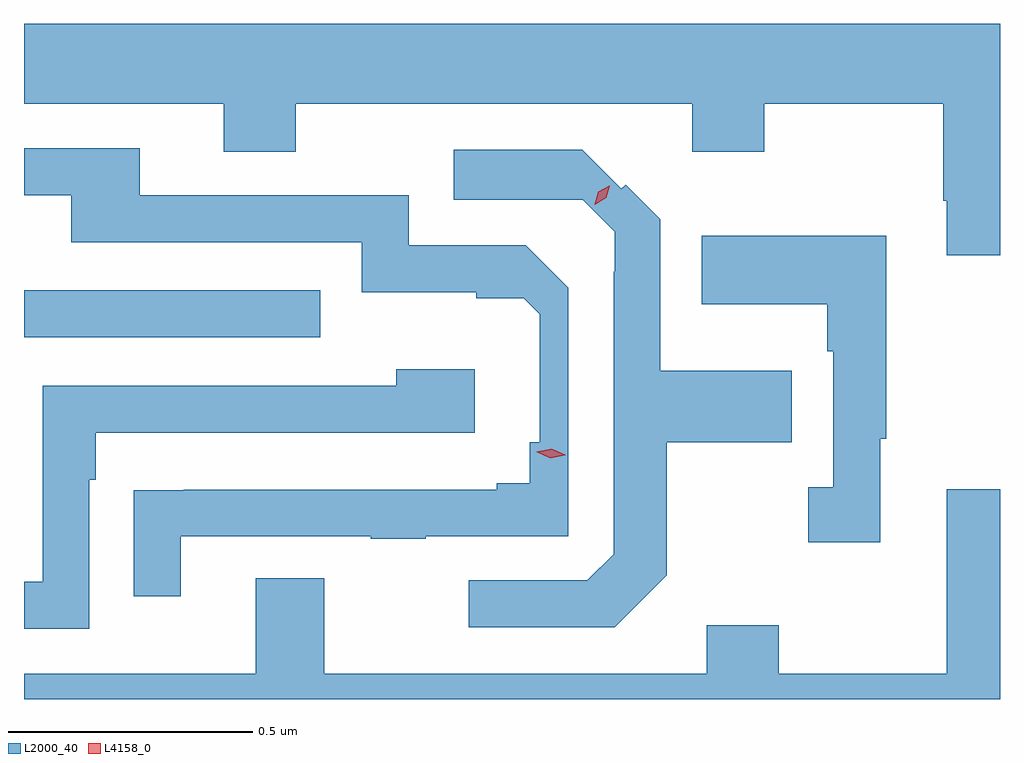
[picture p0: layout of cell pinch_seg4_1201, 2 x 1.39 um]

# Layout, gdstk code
import gdstk
lib = gdstk.Library(unit=1e-6, precision=1e-09)
def R(c, l, rs):  # rectangles x0, y0, x1, y1
    for r in rs: c.add(gdstk.rectangle(r[:2], r[2:], *l))
def P(c, l, *ps):  # polygons
    for p in ps: c.add(gdstk.Polygon(p, *l))
L2000_40 = (2000, 40)
L4158_0 = (4158, 0)

pinch_seg4_1201 = lib.new_cell('pinch_seg4_1201')
R(pinch_seg4_1201, L2000_40, [(505.93,752.385,506.537,752.481)])
P(pinch_seg4_1201, L2000_40, [(507.93,753.028),(505.93,753.028),(505.93,752.864),(506.339,752.864),(506.339,752.765),(506.487,752.765),(506.487,752.864),(507.299,752.864),(507.299,752.765),(507.447,752.765),(507.447,752.864),(507.814,752.864),(507.814,752.665),(507.821,752.665),(507.821,752.553),(507.93,752.553)],
  [(506.251,751.977),(506.641,751.977),(506.641,751.972),(506.753,751.972),(506.753,751.977),(507.045,751.977),(507.045,752.487),(506.958,752.574),(506.718,752.574),(506.718,752.676),(506.167,752.676),(506.167,752.772),(505.93,752.772),(505.93,752.676),(506.027,752.676),(506.027,752.58),(506.622,752.58),(506.622,752.477),(506.857,752.477),(506.857,752.465),(506.954,752.465),(506.987,752.432),(506.987,752.17),(506.966,752.17),(506.966,752.086),(506.899,752.086),(506.899,752.073),(506.257,752.073),(506.257,752.072),(506.155,752.072),(506.155,751.854),(506.251,751.854)],
  [(507.247,751.897),(507.247,752.17),(507.503,752.17),(507.503,752.317),(507.234,752.317),(507.234,752.627),(507.163,752.698),(507.154,752.689),(507.074,752.769),(506.811,752.769),(506.811,752.667),(507.075,752.667),(507.141,752.601),(507.141,752.519),(507.138,752.519),(507.138,751.941),(507.084,751.887),(506.841,751.887),(506.841,751.791),(507.141,751.791)],
  [(507.685,752.177),(507.697,752.177),(507.697,752.593),(507.319,752.593),(507.319,752.453),(507.576,752.453),(507.576,752.357),(507.588,752.357),(507.588,752.078),(507.537,752.078),(507.537,751.965),(507.685,751.965)],
  [(506.064,752.093),(506.077,752.093),(506.077,752.19),(506.854,752.19),(506.854,752.32),(506.693,752.32),(506.693,752.286),(505.968,752.286),(505.968,751.884),(505.93,751.884),(505.93,751.788),(506.064,751.788)],
  [(507.93,752.074),(507.821,752.074),(507.821,751.696),(507.477,751.696),(507.477,751.795),(507.329,751.795),(507.329,751.696),(506.545,751.696),(506.545,751.891),(506.405,751.891),(506.405,751.696),(505.93,751.696),(505.93,751.643),(507.93,751.643)])
P(pinch_seg4_1201, L4158_0, [(507.1,752.657),(507.1,752.658),(507.107,752.683),(507.129,752.696),(507.13,752.696),(507.13,752.696),(507.123,752.671),(507.1,752.657)],
  [(507.008,752.137),(506.98,752.151),(506.98,752.151),(506.98,752.151),(507.011,752.157),(507.039,752.144),(507.039,752.144),(507.039,752.143)])

lib.write_gds('pinch_seg4_1201.gds')
